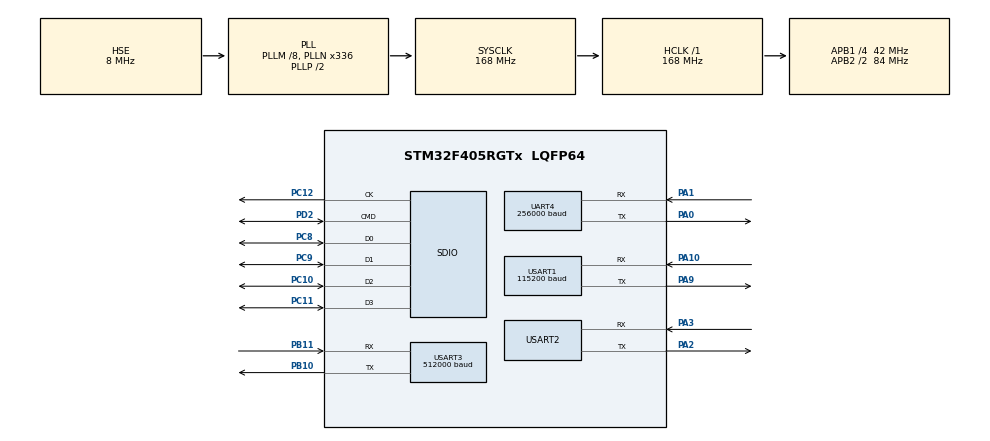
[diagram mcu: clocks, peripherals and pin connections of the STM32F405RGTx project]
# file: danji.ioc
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Dma.Request0=SDIO_RX
Dma.Request1=SDIO_TX
Dma.Request2=USART1_TX
Dma.Request3=USART1_RX
Dma.SDIO_RX.0.Direction=DMA_PERIPH_TO_MEMORY
Dma.SDIO_RX.0.FIFOMode=DMA_FIFOMODE_ENABLE
Dma.SDIO_RX.0.FIFOThreshold=DMA_FIFO_THRESHOLD_FULL
Dma.SDIO_RX.0.Instance=DMA2_Stream3
Dma.SDIO_RX.0.MemBurst=DMA_MBURST_INC4
Dma.SDIO_RX.0.MemDataAlignment=DMA_MDATAALIGN_WORD
Dma.SDIO_RX.0.MemInc=DMA_MINC_ENABLE
Dma.SDIO_RX.0.Mode=DMA_PFCTRL
Dma.SDIO_RX.0.PeriphBurst=DMA_PBURST_INC4
Dma.SDIO_RX.0.PeriphDataAlignment=DMA_PDATAALIGN_WORD
Dma.SDIO_RX.0.PeriphInc=DMA_PINC_DISABLE
Dma.SDIO_RX.0.Priority=DMA_PRIORITY_LOW
Dma.SDIO_TX.1.Direction=DMA_MEMORY_TO_PERIPH
Dma.SDIO_TX.1.FIFOMode=DMA_FIFOMODE_ENABLE
Dma.SDIO_TX.1.FIFOThreshold=DMA_FIFO_THRESHOLD_FULL
Dma.SDIO_TX.1.Instance=DMA2_Stream6
Dma.SDIO_TX.1.MemBurst=DMA_MBURST_INC4
Dma.SDIO_TX.1.MemDataAlignment=DMA_MDATAALIGN_WORD
Dma.SDIO_TX.1.MemInc=DMA_MINC_ENABLE
Dma.SDIO_TX.1.Mode=DMA_PFCTRL
Dma.SDIO_TX.1.PeriphBurst=DMA_PBURST_INC4
Dma.SDIO_TX.1.PeriphDataAlignment=DMA_PDATAALIGN_WORD
Dma.SDIO_TX.1.PeriphInc=DMA_PINC_DISABLE
Dma.SDIO_TX.1.Priority=DMA_PRIORITY_LOW
Dma.USART1_RX.3.Direction=DMA_PERIPH_TO_MEMORY
Dma.USART1_RX.3.FIFOMode=DMA_FIFOMODE_DISABLE
Dma.USART1_RX.3.Instance=DMA2_Stream2
Dma.USART1_RX.3.MemDataAlignment=DMA_MDATAALIGN_BYTE
Dma.USART1_RX.3.MemInc=DMA_MINC_ENABLE
Dma.USART1_RX.3.Mode=DMA_CIRCULAR
Dma.USART1_RX.3.PeriphDataAlignment=DMA_PDATAALIGN_BYTE
Dma.USART1_RX.3.PeriphInc=DMA_PINC_DISABLE
Dma.USART1_RX.3.Priority=DMA_PRIORITY_LOW
Dma.USART1_TX.2.Direction=DMA_MEMORY_TO_PERIPH
Dma.USART1_TX.2.FIFOMode=DMA_FIFOMODE_DISABLE
Dma.USART1_TX.2.Instance=DMA2_Stream7
Dma.USART1_TX.2.MemDataAlignment=DMA_MDATAALIGN_BYTE
Dma.USART1_TX.2.MemInc=DMA_MINC_ENABLE
Dma.USART1_TX.2.Mode=DMA_NORMAL
Dma.USART1_TX.2.PeriphDataAlignment=DMA_PDATAALIGN_BYTE
Dma.USART1_TX.2.PeriphInc=DMA_PINC_DISABLE
Dma.USART1_TX.2.Priority=DMA_PRIORITY_LOW
FATFS._CODE_PAGE=936
Mcu.Family=STM32F4
Mcu.Name=STM32F405RGTx
Mcu.Package=LQFP64
NVIC.DMA2_Stream2_IRQn=true\:0\:0\:false\:false\:true
NVIC.DMA2_Stream3_IRQn=true\:6\:0\:true\:false\:true
NVIC.DMA2_Stream6_IRQn=true\:6\:0\:true\:false\:true
NVIC.DMA2_Stream7_IRQn=true\:0\:0\:false\:false\:true
NVIC.PriorityGroup=NVIC_PRIORITYGROUP_4
NVIC.SDIO_IRQn=true\:4\:0\:true\:false\:true
NVIC.TIM3_IRQn=true\:0\:0\:true\:false\:true
NVIC.TIM4_IRQn=true\:1\:0\:true\:false\:true
NVIC.UART4_IRQn=true\:0\:0\:false\:false\:true
NVIC.USART1_IRQn=true\:0\:0\:false\:false\:true
NVIC.USART2_IRQn=true\:0\:0\:false\:false\:true
NVIC.USART3_IRQn=true\:0\:0\:false\:false\:true
PA0-WKUP.Mode=Asynchronous
PA0-WKUP.Signal=UART4_TX
PA1.Mode=Asynchronous
PA1.Signal=UART4_RX
PA10.Mode=Asynchronous
PA10.Signal=USART1_RX
PA13.Mode=Serial_Wire
PA13.Signal=SYS_JTMS-SWDIO
PA14.Mode=Serial_Wire
PA14.Signal=SYS_JTCK-SWCLK
PA2.Mode=Asynchronous
PA2.Signal=USART2_TX
PA3.Mode=Asynchronous
PA3.Signal=USART2_RX
PA9.Mode=Asynchronous
PA9.Signal=USART1_TX
PB10.Mode=Asynchronous
PB10.Signal=USART3_TX
PB11.Mode=Asynchronous
PB11.Signal=USART3_RX
PC10.Mode=SD_4_bits_Wide_bus
PC10.Signal=SDIO_D2
PC11.Mode=SD_4_bits_Wide_bus
PC11.Signal=SDIO_D3
PC12.Mode=SD_4_bits_Wide_bus
PC12.Signal=SDIO_CK
PC8.Mode=SD_4_bits_Wide_bus
PC8.Signal=SDIO_D0
PC9.Mode=SD_4_bits_Wide_bus
PC9.Signal=SDIO_D1
PD2.Mode=SD_4_bits_Wide_bus
PD2.Signal=SDIO_CMD
PH0-OSC_IN.Mode=HSE-External-Oscillator
PH0-OSC_IN.Signal=RCC_OSC_IN
PH1-OSC_OUT.Mode=HSE-External-Oscillator
PH1-OSC_OUT.Signal=RCC_OSC_OUT
ProjectManager.HeapSize=0x800
ProjectManager.StackSize=0x1000
ProjectManager.TargetToolchain=MDK-ARM V5
RCC.48MHZClocksFreq_Value=48000000
RCC.AHBFreq_Value=168000000
RCC.APB1CLKDivider=RCC_HCLK_DIV4
RCC.APB1Freq_Value=42000000
RCC.APB1TimFreq_Value=84000000
RCC.APB2CLKDivider=RCC_HCLK_DIV2
RCC.APB2Freq_Value=84000000
RCC.APB2TimFreq_Value=168000000
RCC.CortexFreq_Value=168000000
RCC.HCLKFreq_Value=168000000
RCC.HSE_VALUE=8000000
RCC.HSI_VALUE=16000000
RCC.LSE_VALUE=32768
RCC.PLLM=8
RCC.PLLN=336
RCC.PLLQ=7
RCC.PLLSourceVirtual=RCC_PLLSOURCE_HSE
RCC.SYSCLKFreq_VALUE=168000000
RCC.SYSCLKSource=RCC_SYSCLKSOURCE_PLLCLK
RCC.VCOOutputFreq_Value=336000000
SDIO.BusWide=SDIO_BUS_WIDE_1B
SDIO.ClockDiv=2
SDIO.WideMode=SDIO_BUS_WIDE_4B
TIM3.Period=1000-1
TIM3.Prescaler=84-1
TIM4.Period=10000-1
TIM4.Prescaler=840-1
UART4.BaudRate=256000
UART4.OverSampling=UART_OVERSAMPLING_16
USART1.BaudRate=115200
USART3.BaudRate=512000
VP_FATFS_VS_SDIO.Mode=SDIO
VP_TIM3_VS_ClockSourceINT.Mode=Internal
VP_TIM4_VS_ClockSourceINT.Mode=Internal
board=danji

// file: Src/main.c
/**
  ******************************************************************************
  * File Name          : main.c
  * Description        : Main program body
  ******************************************************************************
  *
  * Copyright (c) 2017 STMicroelectronics International N.V.
  * All rights reserved.
  *
  * Redistribution and use in source and binary forms, with or without
  * modification, are permitted, provided that the following conditions are met:
  *
  * 1. Redistribution of source code must retain the above copyright notice,
  *    this list of conditions and the following disclaimer.
  * 2. Redistributions in binary form must reproduce the above copyright notice,
  *    this list of conditions and the following disclaimer in the documentation
  *    and/or other materials provided with the distribution.
  * 3. Neither the name of STMicroelectronics nor the names of other
  *    contributors to this software may be used to endorse or promote products
  *    derived from this software without specific written permission.
  * 4. This software, including modifications and/or derivative works of this
  *    software, must execute solely and exclusively on microcontroller or
  *    microprocessor devices manufactured by or for STMicroelectronics.
  * 5. Redistribution and use of this software other than as permitted under
  *    this license is void and will automatically terminate your rights under
  *    this license.
  *
  * THIS SOFTWARE IS PROVIDED BY STMICROELECTRONICS AND CONTRIBUTORS "AS IS"
  * AND ANY EXPRESS, IMPLIED OR STATUTORY WARRANTIES, INCLUDING, BUT NOT
  * LIMITED TO, THE IMPLIED WARRANTIES OF MERCHANTABILITY, FITNESS FOR A
  * PARTICULAR PURPOSE AND NON-INFRINGEMENT OF THIRD PARTY INTELLECTUAL PROPERTY
  * RIGHTS ARE DISCLAIMED TO THE FULLEST EXTENT PERMITTED BY LAW. IN NO EVENT
  * SHALL STMICROELECTRONICS OR CONTRIBUTORS BE LIABLE FOR ANY DIRECT, INDIRECT,
  * INCIDENTAL, SPECIAL, EXEMPLARY, OR CONSEQUENTIAL DAMAGES (INCLUDING, BUT NOT
  * LIMITED TO, PROCUREMENT OF SUBSTITUTE GOODS OR SERVICES; LOSS OF USE, DATA,
  * OR PROFITS; OR BUSINESS INTERRUPTION) HOWEVER CAUSED AND ON ANY THEORY OF
  * LIABILITY, WHETHER IN CONTRACT, STRICT LIABILITY, OR TORT (INCLUDING
  * NEGLIGENCE OR OTHERWISE) ARISING IN ANY WAY OUT OF THE USE OF THIS SOFTWARE,
  * EVEN IF ADVISED OF THE POSSIBILITY OF SUCH DAMAGE.
  *
  ******************************************************************************
  */
#include "main.h"
#include "stm32f4xx_hal.h"
#include "dma.h"
#include "fatfs.h"
#include "sdio.h"
#include "tim.h"
#include "usart.h"
#include "gpio.h"

/* USER CODE BEGIN Includes */
#include "app.h"
#include <string.h>
/* USER CODE END Includes */

/* USER CODE BEGIN PV */
/* Private variables ---------------------------------------------------------*/

/* USER CODE END PV */

void SystemClock_Config(void);
void Error_Handler(void);

/* USER CODE BEGIN PFP */
/* Private function prototypes -----------------------------------------------*/

/* USER CODE END PFP */

/* USER CODE BEGIN 0 */
FATFS SDFatFs;
FIL MyFile;
char SDPath[4];
uint8_t gpsRxBuffer[51];  // 先看成是MSB的
uint8_t gpsStart[5] = {0xAA,0xEE,0x05,0x33,0xD0};
// file write variable

FRESULT res;                                          /* FatFs function common result code */
uint32_t byteswritten;// bytesread;                     /* File write/read counts */
uint8_t wtext[] = "hello world!\n"; /* File write buffer */

uint8_t motorRxbuffer[31];

uint8_t rxByte;

MotorRxDataUnion motorRxData;
uint8_t countReceived = 0;
uint8_t uart4RxState = 0;
gpsDataType gpsData;
gpsDataType gpsDataBuf[100];
gpsDataType *Ptr = (gpsDataType *)gpsDataBuf;
long countGps = 0;
void HAL_UART_RxCpltCallback(UART_HandleTypeDef *huart)   // 由DMA触发进入的串口中断
{
	if(huart->Instance == USART2)
	{
		if(gpsRxBuffer[0] == 0xEE && gpsRxBuffer[1] == 0xDD && gpsRxBuffer[50] == uint8Sum(gpsRxBuffer,50))
		{
			gpsData.starNumber = gpsRxBuffer[9];
			gpsData.year = ((uint16_t)gpsRxBuffer[11]<<8) + gpsRxBuffer[10];
			gpsData.month = gpsRxBuffer[12];
			gpsData.day = gpsRxBuffer[13];
			gpsData.hour = gpsRxBuffer[14];
			gpsData.minute = gpsRxBuffer[15];
			gpsData.second = gpsRxBuffer[16];
			gpsData.ms = ((uint16_t)gpsRxBuffer[18]<<8) + gpsRxBuffer[17];

			gpsData.longitude = ((uint32_t)gpsRxBuffer[22]<<24) + ((uint32_t)gpsRxBuffer[21]<<16) + ((uint32_t)gpsRxBuffer[20]<<8) + (uint32_t)gpsRxBuffer[19]; // 读取经度
			gpsData.latitude = ((uint32_t)gpsRxBuffer[26]<<24) + ((uint32_t)gpsRxBuffer[25]<<16) + ((uint32_t)gpsRxBuffer[24]<<8) + (uint32_t)gpsRxBuffer[23];  // 读任扯取
			gpsData.altitude = ((uint32_t)gpsRxBuffer[30]<<24) + ((uint32_t)gpsRxBuffer[29]<<16) + ((uint32_t)gpsRxBuffer[28]<<8) + (uint32_t)gpsRxBuffer[27];  // 读取海拔

			gpsData.northSpeed = ((uint32_t)gpsRxBuffer[32]<<8) + (uint32_t)gpsRxBuffer[31];																																	// 北向速度
			gpsData.upSpeed = ((uint32_t)gpsRxBuffer[34]<<8) + (uint32_t)gpsRxBuffer[33];																																	// 天向速度
			gpsData.eastSpeed = ((uint32_t)gpsRxBuffer[36]<<8) + (uint32_t)gpsRxBuffer[35];

			gpsData.PDOP = ((uint16_t)gpsRxBuffer[38]<<8) + gpsRxBuffer[37];
			gpsData.GDOP = ((uint16_t)gpsRxBuffer[40]<<8) + gpsRxBuffer[39];
			*(Ptr+countGps) = gpsData;
			countGps ++;

			if(countGps >= 100)
			{
				writeGPS();
				countGps = 0;
			}
		}
		HAL_UART_Receive_IT(&huart2, (uint8_t *)gpsRxBuffer, sizeof(gpsRxBuffer));
	}

	if(huart->Instance == UART4)
	{
			switch(uart4RxState)
			{
				case 0:if(rxByte == 0xAA) uart4RxState = 1;break;
				case 1:if(rxByte == 0x55)
							{
								uart4RxState = 2;
								motorRxData.y[0] = 0xAA;
								motorRxData.y[1] = 0x55;
								}
				        else if(rxByte == 0xAA)uart4RxState = 1; break;   // 返回1的状态
				case 2:
					    if(countReceived < 28) //  除了帧头 校验位-3还有28 个字节要收
							{
								motorRxData.y[countReceived+2] = rxByte; // 前三个单元放了 0xAA 0x55
								countReceived++;
							}
							else                                   //  校验位 -接受完成~
							{
								int temp = uint8Sum(motorRxData.y,30);
							  motorRxData.y[30] = rxByte;
								if( temp == rxByte)
										writeSD();
								countReceived = 0;
								uart4RxState = 0;
							}
							break;

				default:break;
		}
			HAL_UART_Receive_IT(&huart4, &rxByte, sizeof(rxByte));
	}

}
/* USER CODE END 0 */

int main(void)
{

  /* USER CODE BEGIN 1 */

//  uint8_t rtext[100];
//  printf("hello \n");
	/* File read buffer */
  /* USER CODE END 1 */

  /* MCU Configuration----------------------------------------------------------*/

  /* Reset of all peripherals, Initializes the Flash interface and the Systick. */
  HAL_Init();

  /* Configure the system clock */
  SystemClock_Config();

  /* Initialize all configured peripherals */
  MX_GPIO_Init();
  MX_DMA_Init();
  MX_USART1_UART_Init();
  MX_TIM3_Init();
  MX_TIM4_Init();
  MX_SDIO_SD_Init();
  MX_UART4_Init();
  MX_USART2_UART_Init();
  MX_USART3_UART_Init();
  MX_FATFS_Init();

  /* USER CODE BEGIN 2 */
		    /*##-2- Register the file system object to the FatFs module ##############*/
    if(f_mount(&SDFatFs, (TCHAR const*)SDPath, 0) != FR_OK)
    {
      /* FatFs Initialization Error */

			//printf("FatFs Initialization Error");
      Error_Handler();
    }
		 // 建FAT 文件系统，不是每次都有必要。
      if(f_mkfs((TCHAR const*)SDPath, 0, 0) != FR_OK)
      {
        /* FatFs Format Error */
				//printf("FatFs Format Error ");
        Error_Handler();
      }
//		 if(f_open(&MyFile, "STM32.TXT", FA_CREATE_ALWAYS | FA_WRITE) != FR_OK)
//     {
//          /* 'STM32.TXT' file Open for write Error */
//					//printf("STM32.TXT' file Open for write Error");
//          Error_Handler();
//      }
//		 f_close(&MyFile);
//
  /* USER CODE END 2 */

  /* Infinite loop */
  /* USER CODE BEGIN WHILE */
	HAL_UART_Transmit_IT(&huart2, (uint8_t *)gpsStart, sizeof(gpsStart));
	HAL_UART_Receive_IT(&huart2, (uint8_t *)gpsRxBuffer, sizeof(gpsRxBuffer));

	HAL_UART_Receive_IT(&huart4, &rxByte, sizeof(rxByte));
	//HAL_TIM_Base_Start_IT(&htim3);
	//HAL_TIM_Base_Start_IT(&htim4);
  while (1)
  {
  /* USER CODE END WHILE */

  /* USER CODE BEGIN 3 */
		//HAL_UART_Transmit_IT(&huart2, (uint8_t *)gpsStart, sizeof(gpsStart));
 		//HAL_UART_Transmit_IT(&huart4, (uint8_t *)motorTxbuffer, sizeof(motorTxbuffer));
    HAL_Delay(1000);
  }
  /* USER CODE END 3 */

}

/** System Clock Configuration
*/
void SystemClock_Config(void)
{

  RCC_OscInitTypeDef RCC_OscInitStruct;
  RCC_ClkInitTypeDef RCC_ClkInitStruct;

    /**Configure the main internal regulator output voltage
    */
  __HAL_RCC_PWR_CLK_ENABLE();

  __HAL_PWR_VOLTAGESCALING_CONFIG(PWR_REGULATOR_VOLTAGE_SCALE1);

    /**Initializes the CPU, AHB and APB busses clocks
    */
  RCC_OscInitStruct.OscillatorType = RCC_OSCILLATORTYPE_HSE;
  RCC_OscInitStruct.HSEState = RCC_HSE_ON;
  RCC_OscInitStruct.PLL.PLLState = RCC_PLL_ON;
  RCC_OscInitStruct.PLL.PLLSource = RCC_PLLSOURCE_HSE;
  RCC_OscInitStruct.PLL.PLLM = 8;
  RCC_OscInitStruct.PLL.PLLN = 336;
  RCC_OscInitStruct.PLL.PLLP = RCC_PLLP_DIV2;
  RCC_OscInitStruct.PLL.PLLQ = 7;
  if (HAL_RCC_OscConfig(&RCC_OscInitStruct) != HAL_OK)
  {
    Error_Handler();
  }

    /**Initializes the CPU, AHB and APB busses clocks
    */
  RCC_ClkInitStruct.ClockType = RCC_CLOCKTYPE_HCLK|RCC_CLOCKTYPE_SYSCLK
                              |RCC_CLOCKTYPE_PCLK1|RCC_CLOCKTYPE_PCLK2;
  RCC_ClkInitStruct.SYSCLKSource = RCC_SYSCLKSOURCE_PLLCLK;
  RCC_ClkInitStruct.AHBCLKDivider = RCC_SYSCLK_DIV1;
  RCC_ClkInitStruct.APB1CLKDivider = RCC_HCLK_DIV4;
  RCC_ClkInitStruct.APB2CLKDivider = RCC_HCLK_DIV2;

  if (HAL_RCC_ClockConfig(&RCC_ClkInitStruct, FLASH_LATENCY_5) != HAL_OK)
  {
    Error_Handler();
  }

    /**Configure the Systick interrupt time
    */
  HAL_SYSTICK_Config(HAL_RCC_GetHCLKFreq()/1000);

    /**Configure the Systick
    */
  HAL_SYSTICK_CLKSourceConfig(SYSTICK_CLKSOURCE_HCLK);

  /* SysTick_IRQn interrupt configuration */
  HAL_NVIC_SetPriority(SysTick_IRQn, 0, 0);
}

/* USER CODE BEGIN 4 */
void HAL_UART_ErrorCallback(UART_HandleTypeDef *huart)
{
		HAL_UART_Receive_IT(&huart4, &rxByte, sizeof(&rxByte));
		HAL_UART_Receive_IT(&huart2, (uint8_t *)gpsRxBuffer, sizeof(gpsRxBuffer));
}
/* USER CODE END 4 */

void Error_Handler(void)
{
  while(1)
  {
  }
}

/************************ (C) COPYRIGHT STMicroelectronics *****END OF FILE****/
